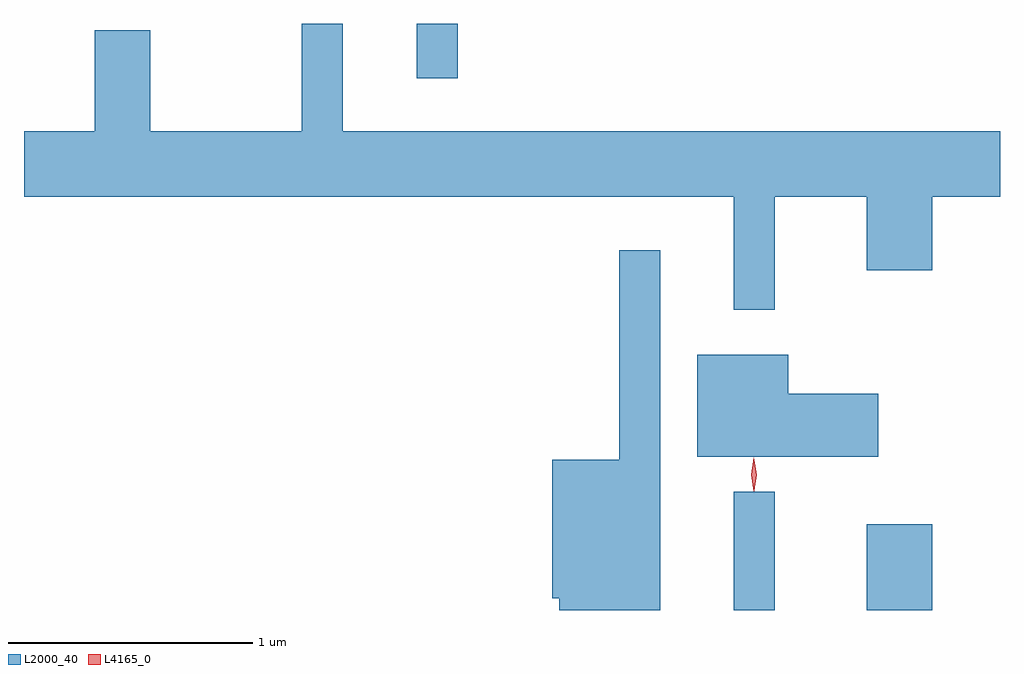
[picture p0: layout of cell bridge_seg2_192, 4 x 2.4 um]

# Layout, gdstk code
import gdstk
lib = gdstk.Library(unit=1e-6, precision=1e-09)
def R(c, l, rs):  # rectangles x0, y0, x1, y1
    for r in rs: c.add(gdstk.rectangle(r[:2], r[2:], *l))
def P(c, l, *ps):  # polygons
    for p in ps: c.add(gdstk.Polygon(p, *l))
L2000_40 = (2000, 40)
L4165_0 = (4165, 0)

bridge_seg2_192 = lib.new_cell('bridge_seg2_192')
R(bridge_seg2_192, L2000_40, [(833.911,977.802,834.079,978.288), (834.456,977.802,834.724,978.154), (832.611,979.983,832.779,980.205)])
P(bridge_seg2_192, L2000_40, [(834.079,979.496),(834.456,979.496),(834.456,979.196),(834.724,979.196),(834.724,979.496),(835.002,979.496),(835.002,979.764),(832.309,979.764),(832.309,980.205),(832.141,980.205),(832.141,979.764),(831.519,979.764),(831.519,980.179),(831.291,980.179),(831.291,979.764),(831.002,979.764),(831.002,979.496),(833.911,979.496),(833.911,979.033),(834.079,979.033)],
  [(833.609,979.278),(833.441,979.278),(833.441,978.419),(833.166,978.419),(833.166,977.851),(833.196,977.851),(833.196,977.802),(833.609,977.802)],
  [(834.504,978.689),(834.134,978.689),(834.134,978.849),(833.761,978.849),(833.761,978.431),(834.504,978.431)])
P(bridge_seg2_192, L4165_0, [(833.993,978.29),(833.993,978.29),(833.983,978.358),(833.992,978.426),(833.993,978.426),(833.993,978.426),(834.003,978.358),(833.994,978.29)],
  [(833.994,978.293),(833.985,978.356),(833.994,978.419),(833.994,978.42),(833.995,978.419),(834.005,978.356),(833.995,978.293),(833.995,978.293)])

lib.write_gds('bridge_seg2_192.gds')
